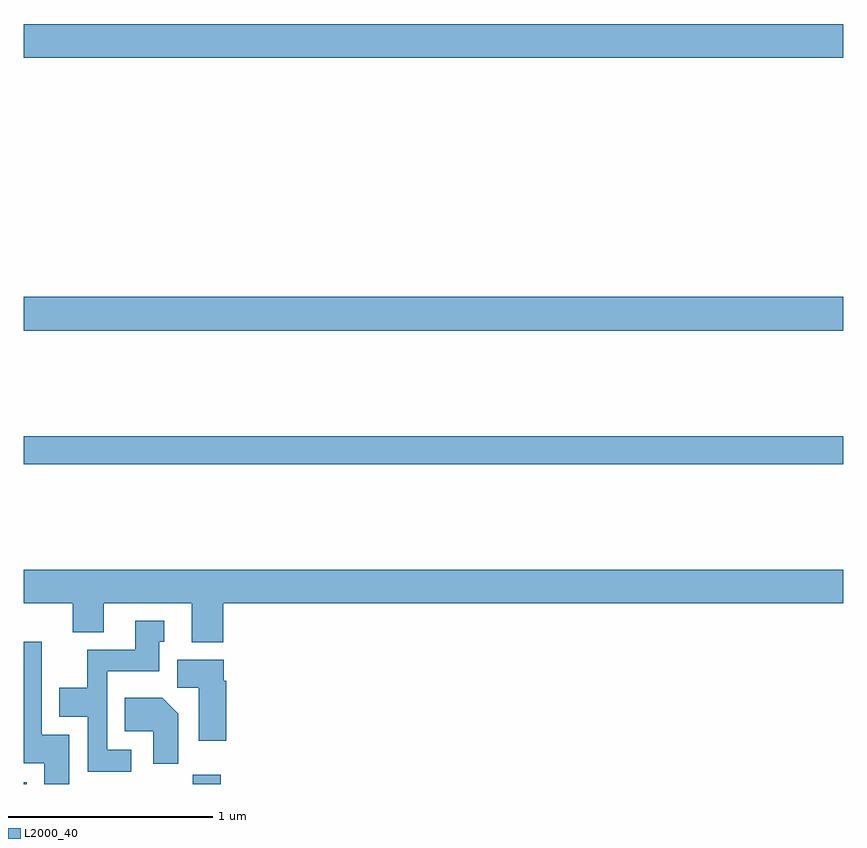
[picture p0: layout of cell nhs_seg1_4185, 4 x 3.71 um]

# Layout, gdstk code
import gdstk
lib = gdstk.Library(unit=1e-6, precision=1e-09)
def R(c, l, rs):  # rectangles x0, y0, x1, y1
    for r in rs: c.add(gdstk.rectangle(r[:2], r[2:], *l))
def P(c, l, *ps):  # polygons
    for p in ps: c.add(gdstk.Polygon(p, *l))
L2000_40 = (2000, 40)

nhs_seg1_4185 = lib.new_cell('nhs_seg1_4185')
R(nhs_seg1_4185, L2000_40, [(339,536.199,339.016,536.208), (339.826,536.199,339.962,536.245), (339,537.76,343,537.896), (339,538.412,343,538.576), (339,539.744,343,539.908)])
P(nhs_seg1_4185, L2000_40, [(339.974,537.08),(343,537.08),(343,537.244),(339,537.244),(339,537.08),(339.239,537.08),(339.239,536.939),(339.391,536.939),(339.391,537.08),(339.821,537.08),(339.821,536.891),(339.974,536.891)],
  [(339.526,536.367),(339.408,536.367),(339.408,536.75),(339.661,536.75),(339.661,536.892),(339.685,536.892),(339.685,536.995),(339.545,536.995),(339.545,536.854),(339.31,536.854),(339.31,536.668),(339.173,536.668),(339.173,536.528),(339.312,536.528),(339.312,536.259),(339.526,536.259)],
  [(339.223,536.44),(339.088,536.44),(339.088,536.893),(339,536.893),(339,536.301),(339.101,536.301),(339.101,536.199),(339.223,536.199)],
  [(339.989,536.702),(339.976,536.702),(339.976,536.806),(339.749,536.806),(339.749,536.668),(339.854,536.668),(339.854,536.409),(339.989,536.409)],
  [(339.754,536.542),(339.676,536.62),(339.493,536.62),(339.493,536.456),(339.632,536.456),(339.632,536.298),(339.754,536.298)])

lib.write_gds('nhs_seg1_4185.gds')
